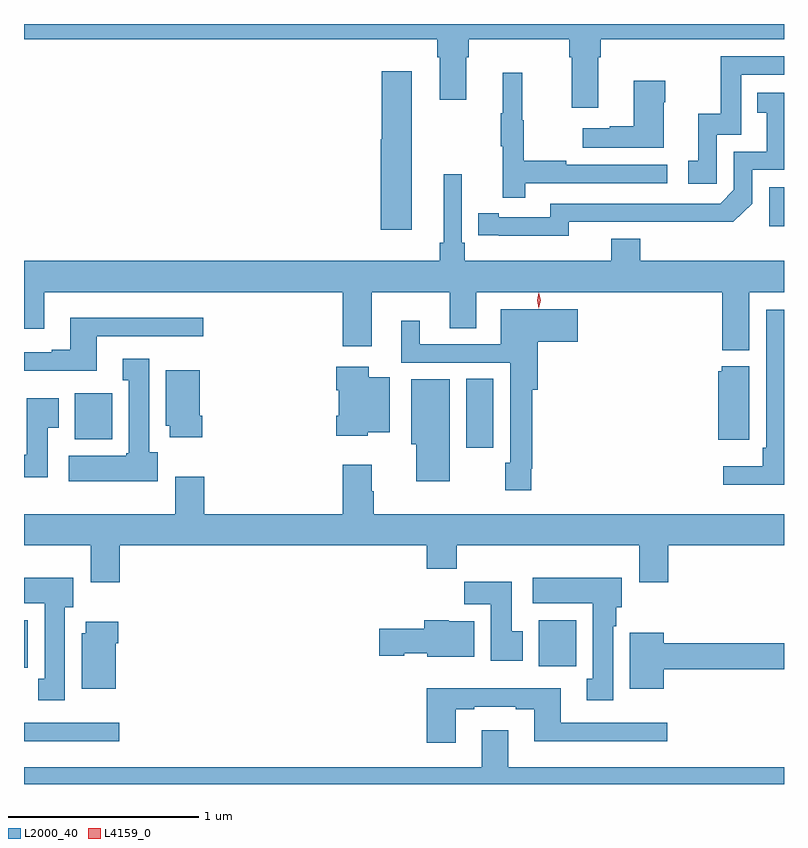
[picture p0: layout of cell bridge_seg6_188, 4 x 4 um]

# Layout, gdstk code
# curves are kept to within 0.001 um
import gdstk
lib = gdstk.Library(unit=1e-6, precision=1e-09)
def R(c, l, rs):  # rectangles x0, y0, x1, y1
    for r in rs: c.add(gdstk.rectangle(r[:2], r[2:], *l))
def P(c, l, *ps):  # polygons
    for p in ps: c.add(gdstk.Polygon(p, *l))
L2000_40 = (2000, 40)
L4159_0 = (4159, 0)

bridge_seg6_188 = lib.new_cell('bridge_seg6_188')
R(bridge_seg6_188, L2000_40, [(301.55,964.952,302.05,965.049), (301.55,965.34,301.569,965.59), (304.259,965.348,304.456,965.59), (303.878,966.498,304.021,966.86), (301.817,966.542,302.014,966.784), (305.472,967.662,305.55,967.869)])
P(bridge_seg6_188, L2000_40, [(301.55,968.648),(303.725,968.648),(303.725,968.552),(303.737,968.552),(303.737,968.328),(303.877,968.328),(303.877,968.552),(303.89,968.552),(303.89,968.648),(304.421,968.648),(304.421,968.552),(304.433,968.552),(304.433,968.286),(304.573,968.286),(304.573,968.552),(304.586,968.552),(304.586,968.648),(305.55,968.648),(305.55,968.727),(301.55,968.727)],
  [(305.196,968.145),(305.325,968.145),(305.325,968.46),(305.55,968.46),(305.55,968.556),(305.217,968.556),(305.217,968.254),(305.099,968.254),(305.099,968.007),(305.046,968.007),(305.046,967.887),(305.196,967.887)],
  [(303.592,968.479),(303.434,968.479),(303.434,968.121),(303.428,968.121),(303.428,967.644),(303.592,967.644)],
  [(304.187,967.89),(304.936,967.89),(304.936,967.986),(304.403,967.986),(304.403,968.006),(304.18,968.006),(304.18,968.22),(304.172,968.22),(304.172,968.47),(304.07,968.47),(304.07,968.257),(304.059,968.257),(304.059,968.083),(304.07,968.083),(304.07,967.812),(304.187,967.812)],
  [(304.918,968.315),(304.926,968.315),(304.926,968.428),(304.76,968.428),(304.76,968.189),(304.634,968.189),(304.634,968.179),(304.491,968.179),(304.491,968.075),(304.918,968.075)],
  [(304.416,967.686),(305.284,967.685),(305.382,967.782),(305.382,967.959),(305.55,967.959),(305.55,968.365),(305.41,968.365),(305.41,968.259),(305.459,968.259),(305.459,968.055),(305.286,968.055),(305.286,967.854),(305.214,967.782),(304.32,967.782),(304.32,967.71),(304.048,967.71),(304.048,967.73),(303.94,967.73),(303.94,967.614),(304.416,967.613)],
  [(305.368,967.316),(305.55,967.316),(305.55,967.48),(304.793,967.48),(304.793,967.597),(304.64,967.597),(304.64,967.48),(303.869,967.48),(303.869,967.576),(303.855,967.576),(303.855,967.936),(303.758,967.936),(303.758,967.576),(303.739,967.576),(303.739,967.48),(301.55,967.48),(301.55,967.122),(301.657,967.122),(301.657,967.316),(303.227,967.316),(303.227,967.032),(303.379,967.032),(303.379,967.316),(303.791,967.316),(303.791,967.126),(303.931,967.126),(303.931,967.316),(305.225,967.316),(305.225,967.01),(305.368,967.01)],
  [(304.219,966.385),(304.226,966.385),(304.226,966.803),(304.253,966.803),(304.253,967.055),(304.465,967.055),(304.465,967.225),(304.058,967.225),(304.058,967.041),(303.634,967.041),(303.634,967.165),(303.536,967.165),(303.536,966.945),(304.11,966.945),(304.11,966.417),(304.084,966.417),(304.084,966.273),(304.219,966.273)],
  [(305.55,967.222),(305.457,967.222),(305.457,966.496),(305.437,966.496),(305.437,966.4),(305.229,966.4),(305.229,966.302),(305.55,966.302)],
  [(301.933,967.083),(302.494,967.083),(302.494,967.18),(301.793,967.18),(301.793,967.012),(301.697,967.012),(301.697,966.999),(301.55,966.999),(301.55,966.902),(301.933,966.902)],
  [(302.254,966.474),(302.209,966.474),(302.209,966.964),(302.069,966.964),(302.069,966.851),(302.102,966.851),(302.102,966.468),(302.089,966.468),(302.089,966.454),(301.785,966.454),(301.785,966.32),(302.254,966.32)],
  [(305.368,966.925),(305.223,966.925),(305.223,966.9),(305.204,966.9),(305.204,966.539),(305.368,966.539)],
  [(303.36,966.578),(303.475,966.578),(303.475,966.868),(303.364,966.868),(303.364,966.922),(303.194,966.922),(303.194,966.8),(303.206,966.8),(303.206,966.664),(303.194,966.664),(303.194,966.56),(303.36,966.56)],
  [(302.489,966.664),(302.476,966.664),(302.476,966.904),(302.297,966.904),(302.297,966.612),(302.318,966.612),(302.318,966.552),(302.489,966.552)],
  [(303.79,966.856),(303.587,966.856),(303.587,966.516),(303.614,966.516),(303.614,966.32),(303.79,966.32)],
  [(301.675,966.601),(301.732,966.601),(301.732,966.757),(301.565,966.757),(301.565,966.46),(301.55,966.46),(301.55,966.342),(301.675,966.342)],
  [(302.054,965.984),(303.671,965.984),(303.671,965.86),(303.827,965.86),(303.827,965.984),(304.787,965.984),(304.787,965.79),(304.94,965.79),(304.94,965.984),(305.55,965.984),(305.55,966.148),(303.392,966.148),(303.392,966.269),(303.379,966.269),(303.379,966.406),(303.227,966.406),(303.227,966.148),(302.498,966.148),(302.498,966.343),(302.345,966.343),(302.345,966.148),(301.55,966.148),(301.55,965.984),(301.901,965.984),(301.901,965.79),(302.054,965.79)],
  [(301.765,965.658),(301.81,965.658),(301.81,965.812),(301.55,965.812),(301.55,965.678),(301.658,965.678),(301.658,965.281),(301.625,965.281),(301.625,965.169),(301.765,965.169)],
  [(304.651,965.558),(304.666,965.558),(304.666,965.658),(304.696,965.658),(304.696,965.812),(304.227,965.812),(304.227,965.678),(304.544,965.678),(304.544,965.282),(304.511,965.282),(304.511,965.169),(304.651,965.169)],
  [(304.174,965.532),(304.117,965.532),(304.117,965.791),(303.868,965.791),(303.868,965.672),(304.007,965.672),(304.007,965.376),(304.174,965.376)],
  [(303.919,965.584),(303.786,965.584),(303.786,965.59),(303.656,965.59),(303.656,965.544),(303.42,965.544),(303.42,965.402),(303.552,965.402),(303.552,965.414),(303.672,965.414),(303.672,965.396),(303.919,965.396)],
  [(302.032,965.468),(302.045,965.468),(302.045,965.581),(301.874,965.581),(301.874,965.52),(301.853,965.52),(301.853,965.228),(302.032,965.228)],
  [(304.918,965.332),(305.55,965.332),(305.55,965.468),(304.918,965.468),(304.918,965.524),(304.739,965.524),(304.739,965.228),(304.918,965.228)],
  [(303.823,965.121),(303.919,965.121),(303.919,965.133),(304.139,965.133),(304.139,965.121),(304.235,965.121),(304.235,964.952),(304.936,964.952),(304.936,965.049),(304.375,965.049),(304.375,965.23),(303.671,965.23),(303.671,964.944),(303.823,964.944)],
  [(305.55,964.816),(304.099,964.816),(304.099,965.011),(303.959,965.011),(303.959,964.816),(301.55,964.816),(301.55,964.727),(305.55,964.727)])
P(bridge_seg6_188, L4159_0, [(304.26,967.231),(304.26,967.231),(304.25,967.272),(304.26,967.312),(304.26,967.312),(304.26,967.312),(304.27,967.272),(304.26,967.231)])

lib.write_gds('bridge_seg6_188.gds')
